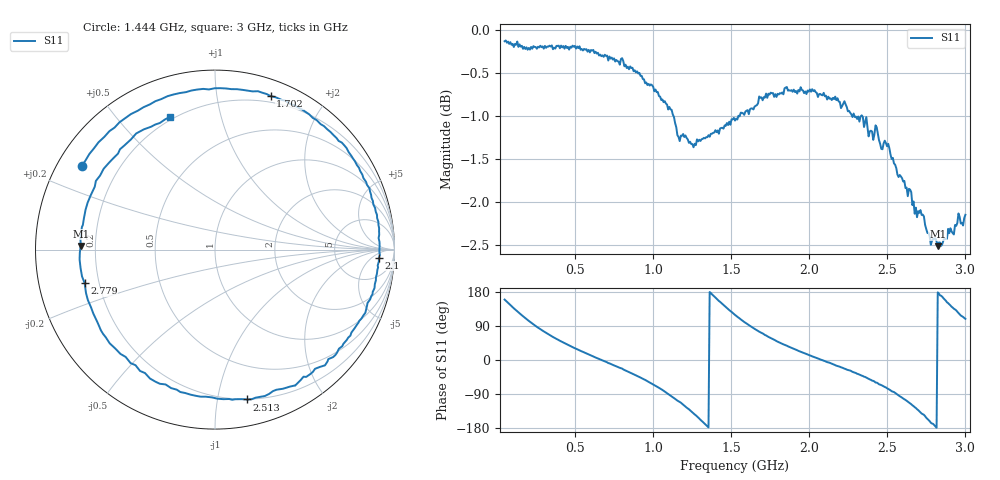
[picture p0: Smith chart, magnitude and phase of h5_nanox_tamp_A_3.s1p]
! nanovna_capture.py 2026-10-18T19:54:04+0900
! NanoVNA-F_V2 fw 0.6.0 SN 4A3639384505514B
! cal: load open short cal'ed  over 50000000-3000000000 Hz, 201 points
! points 401, avg 4
! h5 probe, tape spacer, modified (implanted) Nano X, position A (behind left button), placement 3
# HZ S RI R 50
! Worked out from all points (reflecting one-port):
!   401 points, 50 MHz to 3 GHz, reference 50 ohm
!   lowest |S11| = -2.5 dB at 2.823 GHz (marker M1), VSWR 6.95, Z = 7.19 + j0.664 ohm
!   phase of S11 starts at 159 deg and turns -771 deg over the sweep
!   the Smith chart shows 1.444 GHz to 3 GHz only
!   S11 on the Smith chart (normalised r, x): 1.444 GHz: 0.07, +0.29; 1.702 GHz: 0.14, +1.42; 2.1 GHz: 17, -9; 2.513 GHz: 0.20, -1.21; 2.779 GHz: 0.15, -0.12; 3 GHz: 0.19, +0.70
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5e7  -0.922 0.3452
1.385e8  -0.5701 0.7935
2.19625e8  -0.1453 0.9661
3.08125e8  0.2762 0.9385
4.1875e8  0.6569 0.7223
6.03125e8  0.9516 0.2027
7.875e8  0.8926 -0.3369
1.001375e9  0.3995 -0.8357
1.089875e9  0.0424 -0.9036
1.15625e9  -0.2569 -0.8294
1.237375e9  -0.5861 -0.6303
1.3185e9  -0.8274 -0.2488
1.384875e9  -0.8592 0.1422
1.443875e9  -0.7436 0.4648
1.525e9  -0.4298 0.774
1.606125e9  -0.0653 0.8954
1.702e9  0.3093 0.8555
1.89375e9  0.7909 0.4703
2.10025e9  0.9135 -0.045
2.2625e9  0.7907 -0.4185
2.358375e9  0.6274 -0.6222
2.51325e9  0.1756 -0.835
2.63125e9  -0.2755 -0.7513
2.71975e9  -0.6086 -0.4885
2.77875e9  -0.7263 -0.1866
2.823e9  -0.7482 0.0203
2.9115e9  -0.5902 0.4843
3e9  -0.2486 0.7399
